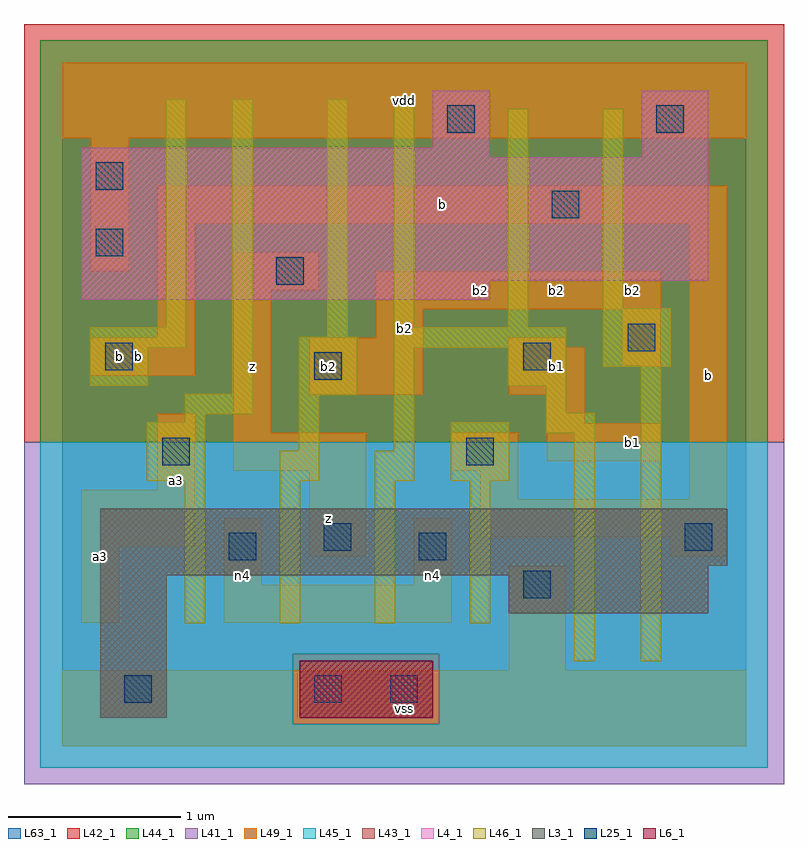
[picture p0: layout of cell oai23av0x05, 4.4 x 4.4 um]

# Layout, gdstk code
import gdstk
lib = gdstk.Library(unit=1e-6, precision=1e-09)
def R(c, l, rs):  # rectangles x0, y0, x1, y1
    for r in rs: c.add(gdstk.rectangle(r[:2], r[2:], *l))
def A(c, l, x, y, w, h, nx, ny, dx, dy):  # array of equal rectangles
    R(c, l, [(x+i*dx, y+j*dy, x+i*dx+w, y+j*dy+h) for i in range(nx) for j in range(ny)])
L3_1 = (3, 1)
L4_1 = (4, 1)
L6_1 = (6, 1)
L25_1 = (25, 1)
L41_1 = (41, 1)
L42_1 = (42, 1)
L43_1 = (43, 1)
L44_1 = (44, 1)
L45_1 = (45, 1)
L46_1 = (46, 1)
L49_1 = (49, 1)
L63_1 = (63, 1)

oai23av0x05 = lib.new_cell('oai23av0x05')
R(oai23av0x05, L3_1, [(0.22,0.165,0.605,0.99), (2.585,0.77,3.74,0.99), (0.22,0.99,3.74,1.045), (0.22,1.045,3.85,1.375)])
R(oai23av0x05, L4_1, [(0.11,2.585,2.475,2.695), (0.11,2.695,3.74,3.41), (0.11,3.41,2.475,3.465), (3.355,3.41,3.74,3.795), (2.145,3.465,2.475,3.795)])
R(oai23av0x05, L6_1, [(1.375,0.165,2.145,0.495)])
R(oai23av0x05, L25_1, [(0.36,0.25,0.52,0.41), (1.46,0.25,1.62,0.41), (1.9,0.25,2.06,0.41), (2.67,0.855,2.83,1.015), (0.965,1.075,1.125,1.235), (2.065,1.075,2.225,1.235), (1.515,1.13,1.675,1.29), (3.605,1.13,3.765,1.29), (0.58,1.625,0.74,1.785), (2.34,1.625,2.5,1.785), (1.46,2.12,1.62,2.28), (0.25,2.175,0.41,2.335), (2.67,2.175,2.83,2.335), (3.275,2.285,3.435,2.445), (1.24,2.67,1.4,2.83), (0.195,2.835,0.355,2.995), (2.835,3.055,2.995,3.215), (0.195,3.22,0.355,3.38), (2.23,3.55,2.39,3.71), (3.44,3.55,3.6,3.71)])
R(oai23av0x05, L41_1, [(-0.22,-0.22,4.18,1.76)])
R(oai23av0x05, L42_1, [(-0.22,1.76,4.18,4.18)])
R(oai23av0x05, L43_1, [(0.22,0.165,0.605,0.99), (1.375,0.165,2.145,0.495), (2.585,0.77,3.74,0.99), (0.22,0.99,3.74,1.045), (0.22,1.045,3.85,1.375), (0.11,2.585,2.475,2.695), (0.11,2.695,3.74,3.41), (0.11,3.41,2.475,3.465), (3.355,3.41,3.74,3.795), (2.145,3.465,2.475,3.795)])
R(oai23av0x05, L44_1, [(1.335,0.125,2.185,0.535), (-0.125,1.76,4.085,4.085)])
R(oai23av0x05, L45_1, [(-0.125,-0.125,4.085,0.125), (-0.125,0.125,1.335,0.535), (2.185,0.125,4.085,0.535), (-0.125,0.535,4.085,1.76)])
A(oai23av0x05, L46_1, 0.71, 0.71, 0.12, 0.825, 4, 1, 0.55, 0)
R(oai23av0x05, L46_1, [(2.965,0.49,3.085,1.81), (3.35,0.49,3.47,2.195), (0.49,1.535,0.83,1.875), (1.26,1.535,1.49,1.71), (1.81,1.535,2.04,1.71), (2.25,1.535,2.59,1.875), (1.37,1.71,1.49,2.03), (1.92,1.71,2.04,2.305), (2.8,1.81,3.085,1.93), (0.71,1.875,0.83,1.92), (0.71,1.92,1.105,2.04), (2.8,1.93,2.92,2.085), (1.37,2.03,1.71,2.37), (0.985,2.04,1.105,3.745), (0.16,2.085,0.5,2.305), (2.58,2.085,2.92,2.305), (3.13,2.195,3.525,2.535), (0.16,2.305,0.72,2.425), (1.92,2.305,2.92,2.425), (1.535,2.37,1.655,3.745), (0.6,2.425,0.72,3.745), (1.92,2.425,2.04,3.745), (2.58,2.425,2.7,3.69), (3.13,2.535,3.25,3.69)])
R(oai23av0x05, L49_1, [(0,0,3.96,0.44), (2.585,0.44,2.915,1.045), (0.11,0.715,0.33,1.155), (0.935,0.715,2.255,0.935), (0.935,0.935,1.155,1.32), (2.035,0.935,2.255,1.32), (1.43,1.1,1.76,1.595), (3.52,1.1,3.85,1.21), (0.11,1.155,0.77,1.485), (2.42,1.21,3.85,1.43), (2.42,1.43,2.64,1.595), (3.63,1.43,3.85,3.025), (0.55,1.485,0.77,1.925), (0.99,1.595,1.76,1.815), (2.255,1.595,2.64,1.815), (2.805,1.65,3.465,1.87), (0.99,1.815,1.21,2.64), (2.805,1.87,3.025,2.035), (1.43,2.035,2.09,2.365), (2.585,2.035,3.025,2.31), (0.165,2.145,0.77,2.365), (3.245,2.2,3.465,2.53), (2.585,2.31,2.915,2.365), (0.55,2.365,0.77,3.025), (1.815,2.365,2.09,2.53), (1.815,2.53,3.465,2.75), (0.99,2.64,1.485,2.86), (0.165,2.75,0.385,3.52), (0.55,3.025,3.85,3.245), (0,3.52,3.96,3.96)])
R(oai23av0x05, L63_1, [(0,0,3.96,3.96)])
oai23av0x05.add(gdstk.Label('b', (0.33,2.255), layer=49, texttype=1))
oai23av0x05.add(gdstk.Label('a3', (0.22,1.1), layer=49, texttype=1))
oai23av0x05.add(gdstk.Label('n4', (1.045,0.99), layer=49, texttype=1))
oai23av0x05.add(gdstk.Label('a3', (0.66,1.54), layer=49, texttype=1))
oai23av0x05.add(gdstk.Label('z', (1.1,2.2), layer=49, texttype=1))
oai23av0x05.add(gdstk.Label('b', (0.44,2.255), layer=49, texttype=1))
oai23av0x05.add(gdstk.Label('vss', (1.98,0.22), layer=49, texttype=1))
oai23av0x05.add(gdstk.Label('n4', (2.145,0.99), layer=49, texttype=1))
oai23av0x05.add(gdstk.Label('z', (1.54,1.32), layer=49, texttype=1))
oai23av0x05.add(gdstk.Label('b2', (1.54,2.2), layer=49, texttype=1))
oai23av0x05.add(gdstk.Label('b2', (1.98,2.42), layer=49, texttype=1))
oai23av0x05.add(gdstk.Label('vdd', (1.98,3.74), layer=49, texttype=1))
oai23av0x05.add(gdstk.Label('b1', (2.86,2.2), layer=49, texttype=1))
oai23av0x05.add(gdstk.Label('b2', (2.42,2.64), layer=49, texttype=1))
oai23av0x05.add(gdstk.Label('b2', (2.86,2.64), layer=49, texttype=1))
oai23av0x05.add(gdstk.Label('b1', (3.3,1.76), layer=49, texttype=1))
oai23av0x05.add(gdstk.Label('b2', (3.3,2.64), layer=49, texttype=1))
oai23av0x05.add(gdstk.Label('b', (2.2,3.135), layer=49, texttype=1))
oai23av0x05.add(gdstk.Label('b', (3.74,2.145), layer=49, texttype=1))

lib.write_gds('oai23av0x05.gds')
